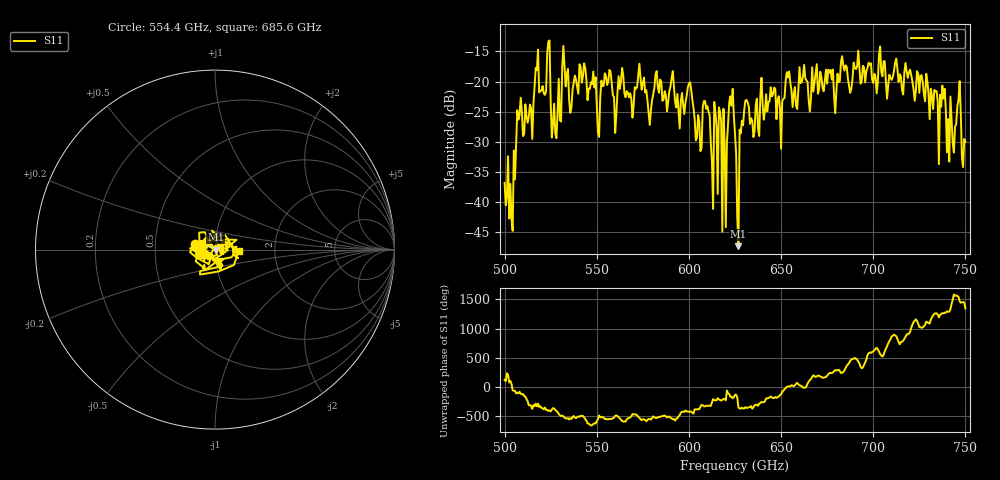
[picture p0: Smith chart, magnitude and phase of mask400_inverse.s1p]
!Created with skrf (http://scikit-rf.org).
# GHz S MA R 50.0
!freq magS11 angS11
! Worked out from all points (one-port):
!   401 points, 500 GHz to 750 GHz, reference 50 ohm
!   lowest |S11| = -47.3 dB at 626.9 GHz (marker M1), VSWR 1.01, Z = 50.4 + j0.0154 ohm
!   |S11| at or under -10 dB: start of sweep to end of sweep
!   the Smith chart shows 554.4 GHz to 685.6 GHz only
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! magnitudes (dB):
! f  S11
! 500 GHz  -36.8
! 503.8 GHz  -42.8
! 508.1 GHz  -25.5
! 513.8 GHz  -23.8
! 517.5 GHz  -18.1
! 523.8 GHz  -13.4
! 526.9 GHz  -23.7
! 531.2 GHz  -17.8
! 542.5 GHz  -19.1
! 551.2 GHz  -29.2
! 562.5 GHz  -21.2
! 593.8 GHz  -22.1
! 600.6 GHz  -20.1
! 605.6 GHz  -26.6
! 609.4 GHz  -24.5
! 611.9 GHz  -30.1
! 619.4 GHz  -30.4
! 623.1 GHz  -24.0
! 625 GHz  -28.6
! 626.9 GHz  -47.3
! 631.2 GHz  -23.0
! 656.2 GHz  -24.2
! 687.5 GHz  -21.9
! 718.8 GHz  -19.4
! 737.5 GHz  -20.7
! 742.5 GHz  -26.2
! 746.2 GHz  -23.1
! 750 GHz  -30.0
